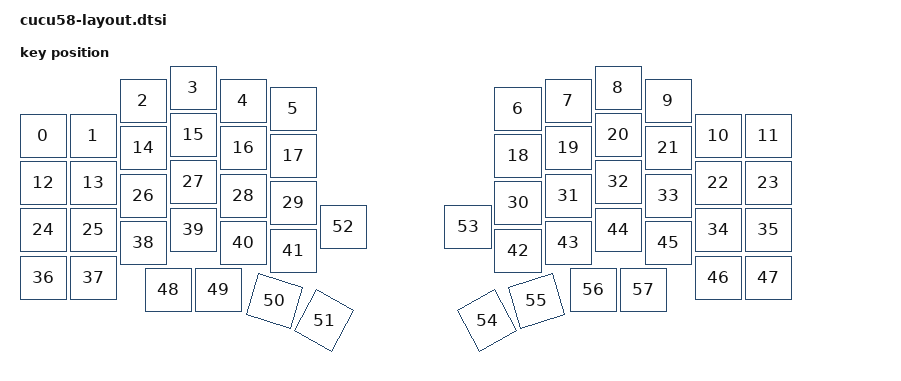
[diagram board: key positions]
/*
 * Cucu58 physical layout: where each key is on the board, in the same order as the
 * keymap. Only used by tools that draw the keyboard (ZMK Studio, keymap-drawer).
 *
 * Generated from the Ergogen points by scripts/zmk_physical_layout.py; regenerate it
 * if the key layout in config.yaml changes.
 */

#include <physical_layouts.dtsi>

/ {
    cucu58_layout: cucu58_layout {
        compatible = "zmk,physical-layout";
        display-name = "Cucu58";

        keys  //                     w   h     x    y      rot    rx   ry
            = <&key_physical_attrs 100  94     0   97        0     0    0>  // matrix_outer_num
            , <&key_physical_attrs 100  94   100   97        0     0    0>  // matrix_pinky_num
            , <&key_physical_attrs 100  94   200   27        0     0    0>  // matrix_ring_num
            , <&key_physical_attrs 100  94   300    0        0     0    0>  // matrix_middle_num
            , <&key_physical_attrs 100  94   400   27        0     0    0>  // matrix_index_num
            , <&key_physical_attrs 100  94   500   43        0     0    0>  // matrix_inner_num
            , <&key_physical_attrs 100  94   950   43        0     0    0>  // matrix_inner_num (R)
            , <&key_physical_attrs 100  94  1050   27        0     0    0>  // matrix_index_num (R)
            , <&key_physical_attrs 100  94  1150    0        0     0    0>  // matrix_middle_num (R)
            , <&key_physical_attrs 100  94  1250   27        0     0    0>  // matrix_ring_num (R)
            , <&key_physical_attrs 100  94  1350   97        0     0    0>  // matrix_pinky_num (R)
            , <&key_physical_attrs 100  94  1450   97        0     0    0>  // matrix_outer_num (R)
            , <&key_physical_attrs 100  94     0  191        0     0    0>  // matrix_outer_top
            , <&key_physical_attrs 100  94   100  191        0     0    0>  // matrix_pinky_top
            , <&key_physical_attrs 100  94   200  121        0     0    0>  // matrix_ring_top
            , <&key_physical_attrs 100  94   300   95        0     0    0>  // matrix_middle_top
            , <&key_physical_attrs 100  94   400  121        0     0    0>  // matrix_index_top
            , <&key_physical_attrs 100  94   500  137        0     0    0>  // matrix_inner_top
            , <&key_physical_attrs 100  94   950  137        0     0    0>  // matrix_inner_top (R)
            , <&key_physical_attrs 100  94  1050  121        0     0    0>  // matrix_index_top (R)
            , <&key_physical_attrs 100  94  1150   95        0     0    0>  // matrix_middle_top (R)
            , <&key_physical_attrs 100  94  1250  121        0     0    0>  // matrix_ring_top (R)
            , <&key_physical_attrs 100  94  1350  191        0     0    0>  // matrix_pinky_top (R)
            , <&key_physical_attrs 100  94  1450  191        0     0    0>  // matrix_outer_top (R)
            , <&key_physical_attrs 100  94     0  285        0     0    0>  // matrix_outer_home
            , <&key_physical_attrs 100  94   100  285        0     0    0>  // matrix_pinky_home
            , <&key_physical_attrs 100  94   200  216        0     0    0>  // matrix_ring_home
            , <&key_physical_attrs 100  94   300  189        0     0    0>  // matrix_middle_home
            , <&key_physical_attrs 100  94   400  216        0     0    0>  // matrix_index_home
            , <&key_physical_attrs 100  94   500  231        0     0    0>  // matrix_inner_home
            , <&key_physical_attrs 100  94   950  231        0     0    0>  // matrix_inner_home (R)
            , <&key_physical_attrs 100  94  1050  216        0     0    0>  // matrix_index_home (R)
            , <&key_physical_attrs 100  94  1150  189        0     0    0>  // matrix_middle_home (R)
            , <&key_physical_attrs 100  94  1250  216        0     0    0>  // matrix_ring_home (R)
            , <&key_physical_attrs 100  94  1350  285        0     0    0>  // matrix_pinky_home (R)
            , <&key_physical_attrs 100  94  1450  285        0     0    0>  // matrix_outer_home (R)
            , <&key_physical_attrs 100  94     0  380        0     0    0>  // matrix_outer_bottom
            , <&key_physical_attrs 100  94   100  380        0     0    0>  // matrix_pinky_bottom
            , <&key_physical_attrs 100  94   200  310        0     0    0>  // matrix_ring_bottom
            , <&key_physical_attrs 100  94   300  284        0     0    0>  // matrix_middle_bottom
            , <&key_physical_attrs 100  94   400  310        0     0    0>  // matrix_index_bottom
            , <&key_physical_attrs 100  94   500  326        0     0    0>  // matrix_inner_bottom
            , <&key_physical_attrs 100  94   950  326        0     0    0>  // matrix_inner_bottom (R)
            , <&key_physical_attrs 100  94  1050  310        0     0    0>  // matrix_index_bottom (R)
            , <&key_physical_attrs 100  94  1150  284        0     0    0>  // matrix_middle_bottom (R)
            , <&key_physical_attrs 100  94  1250  310        0     0    0>  // matrix_ring_bottom (R)
            , <&key_physical_attrs 100  94  1350  380        0     0    0>  // matrix_pinky_bottom (R)
            , <&key_physical_attrs 100  94  1450  380        0     0    0>  // matrix_outer_bottom (R)
            , <&key_physical_attrs 100  94   250  404        0     0    0>  // thumb_super
            , <&key_physical_attrs 100  94   350  404        0     0    0>  // thumb_inny
            , <&key_physical_attrs 100  94   463  427     1700   513  474>  // thumb_middy
            , <&key_physical_attrs 100  94   562  466    11900   612  513>  // thumb_reachy
            , <&key_physical_attrs 100  94   600  279        0     0    0>  // thumb_extra
            , <&key_physical_attrs 100  94   850  279        0     0    0>  // thumb_extra (R)
            , <&key_physical_attrs 100  94   888  466 (-11900)   938  513>  // thumb_reachy (R)
            , <&key_physical_attrs 100  94   987  427  (-1700)  1037  474>  // thumb_middy (R)
            , <&key_physical_attrs 100  94  1100  404        0     0    0>  // thumb_inny (R)
            , <&key_physical_attrs 100  94  1200  404        0     0    0>  // thumb_super (R)
            ;
    };
};
